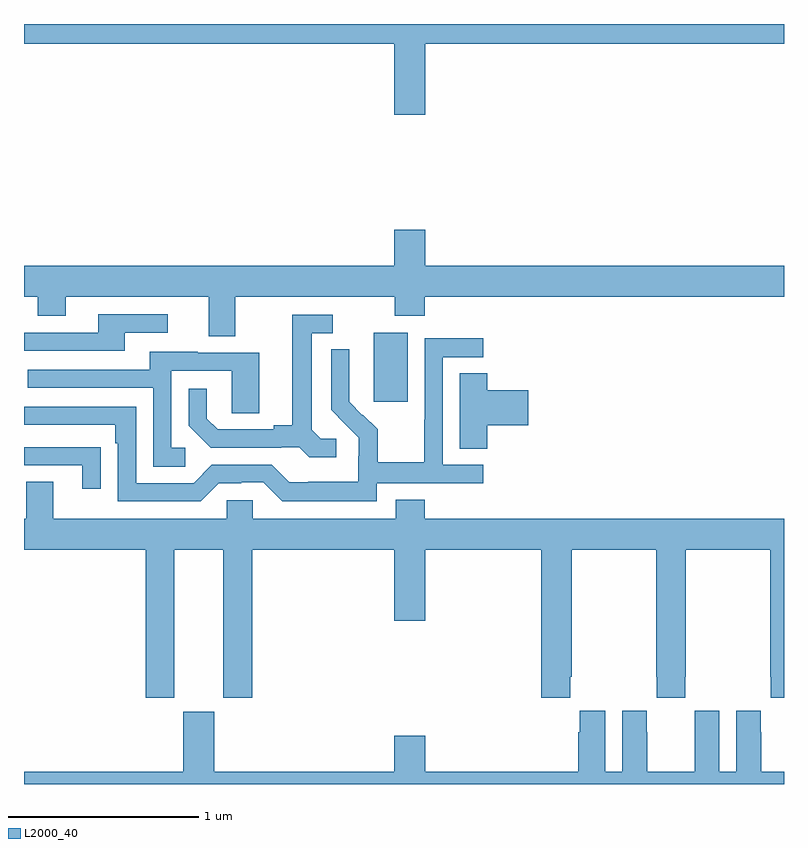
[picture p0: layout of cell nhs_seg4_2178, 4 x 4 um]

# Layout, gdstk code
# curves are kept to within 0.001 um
import gdstk
lib = gdstk.Library(unit=1e-6, precision=1e-09)
def R(c, l, rs):  # rectangles x0, y0, x1, y1
    for r in rs: c.add(gdstk.rectangle(r[:2], r[2:], *l))
def P(c, l, *ps):  # polygons
    for p in ps: c.add(gdstk.Polygon(p, *l))
L2000_40 = (2000, 40)

nhs_seg4_2178 = lib.new_cell('nhs_seg4_2178')
R(nhs_seg4_2178, L2000_40, [(224.84,818.913,225.019,819.274)])
P(nhs_seg4_2178, L2000_40, [(225.112,820.796),(227,820.796),(227,820.9),(223,820.9),(223,820.796),(224.948,820.796),(224.948,820.422),(225.112,820.422)],
  [(224.113,819.464),(224.95,819.464),(224.95,819.365),(225.11,819.365),(225.11,819.464),(227,819.464),(227,819.628),(225.112,819.628),(225.112,819.817),(224.948,819.817),(224.948,819.628),(223,819.628),(223,819.464),(223.072,819.464),(223.072,819.365),(223.219,819.365),(223.219,819.464),(223.973,819.464),(223.973,819.256),(224.113,819.256)],
  [(223.531,819.276),(223.756,819.276),(223.756,819.372),(223.391,819.372),(223.391,819.276),(223,819.276),(223,819.18),(223.531,819.18)],
  [(224.644,818.718),(224.562,818.718),(224.515,818.765),(224.515,819.273),(224.626,819.273),(224.626,819.369),(224.411,819.369),(224.411,818.789),(224.315,818.789),(224.315,818.766),(224.02,818.766),(223.963,818.823),(223.963,818.98),(223.866,818.98),(223.866,818.786),(223.982,818.67),(224.354,818.67),(224.354,818.673),(224.448,818.673),(224.5,818.621),(224.644,818.621)],
  [(224.856,818.484),(225.418,818.484),(225.418,818.58),(225.204,818.58),(225.204,819.147),(225.418,819.147),(225.418,819.246),(225.108,819.246),(225.108,818.816),(225.106,818.816),(225.106,818.593),(224.861,818.593),(224.861,818.767),(224.784,818.844),(224.781,818.841),(224.711,818.912),(224.712,819.188),(224.616,819.188),(224.616,818.87),(224.762,818.722),(224.762,818.625),(224.76,818.625),(224.76,818.491),(224.497,818.491),(224.497,818.487),(224.397,818.487),(224.304,818.58),(223.989,818.58),(223.893,818.484),(223.59,818.484),(223.59,818.886),(223,818.886),(223,818.79),(223.481,818.79),(223.481,818.693),(223.494,818.693),(223.494,818.388),(223.929,818.388),(224.025,818.484),(224.144,818.484),(224.144,818.487),(224.259,818.487),(224.359,818.387),(224.856,818.387)],
  [(223.849,818.67),(223.776,818.67),(223.776,819.075),(224.094,819.075),(224.094,818.851),(224.239,818.851),(224.239,819.171),(223.915,819.171),(223.915,819.175),(223.661,819.175),(223.661,819.081),(223.021,819.081),(223.021,818.985),(223.68,818.985),(223.68,818.569),(223.849,818.569)],
  [(225.437,818.789),(225.655,818.789),(225.655,818.972),(225.437,818.972),(225.437,819.062),(225.293,819.062),(225.293,818.665),(225.437,818.665)],
  [(223.403,818.672),(223.301,818.672),(223.301,818.673),(223,818.673),(223,818.577),(223.307,818.577),(223.307,818.454),(223.403,818.454)],
  [(225.11,818.395),(224.957,818.395),(224.957,818.296),(224.205,818.296),(224.205,818.394),(224.067,818.394),(224.067,818.296),(223.153,818.296),(223.153,818.491),(223.013,818.491),(223.013,818.296),(223,818.296),(223,818.132),(223.64,818.132),(223.64,817.353),(223.792,817.353),(223.792,818.132),(224.048,818.132),(224.048,817.353),(224.201,817.353),(224.201,818.132),(224.948,818.132),(224.948,817.758),(225.112,817.758),(225.112,818.132),(225.722,818.132),(225.722,817.353),(225.875,817.353),(225.875,817.465),(225.882,817.465),(225.882,818.132),(226.327,818.132),(226.327,817.465),(226.329,817.465),(226.329,817.353),(226.479,817.353),(226.479,817.465),(226.482,817.465),(226.482,818.132),(226.927,818.132),(226.927,817.465),(226.929,817.465),(226.929,817.353),(227,817.353),(227,818.296),(225.11,818.296)],
  [(226.748,817.285),(226.748,816.964),(226.66,816.964),(226.66,817.285),(226.53,817.285),(226.53,817.172),(226.529,817.172),(226.529,816.964),(226.279,816.964),(226.279,817.172),(226.278,817.172),(226.278,817.285),(226.148,817.285),(226.148,816.964),(226.06,816.964),(226.06,817.285),(225.926,817.285),(225.926,817.172),(225.917,817.172),(225.917,816.964),(225.112,816.964),(225.112,817.153),(224.948,817.153),(224.948,816.964),(224.002,816.964),(224.002,817.281),(223.838,817.281),(223.838,816.964),(223,816.964),(223,816.9),(227,816.9),(227,816.964),(226.879,816.964),(226.879,817.172),(226.878,817.172),(226.878,817.285)])

lib.write_gds('nhs_seg4_2178.gds')
